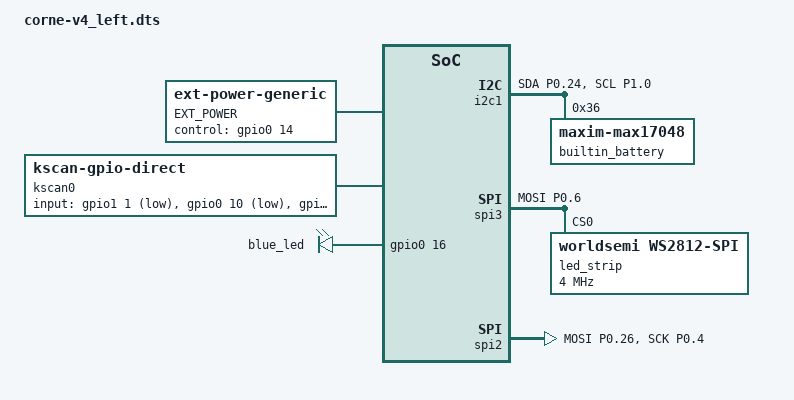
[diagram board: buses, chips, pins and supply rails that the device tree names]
#include "corne-v4.dtsi"
#include <dt-bindings/led/led.h>

/ {
	EXT_POWER {
		compatible = "zmk,ext-power-generic";
		control-gpios = <&gpio0 14 GPIO_ACTIVE_HIGH>;
		init-delay-ms = <50>;
	};
};

&pinctrl {
    i2c1_default: i2c1_default {
        group1 {
            psels = <NRF_PSEL(TWIM_SDA, 0, 24)>,
                <NRF_PSEL(TWIM_SCL, 1, 0)>;
						bias-pull-up;
        };
    };

    i2c1_sleep: i2c1_sleep {
        group1 {
            psels = <NRF_PSEL(TWIM_SDA, 0, 24)>,
                <NRF_PSEL(TWIM_SCL, 1, 0)>;
            low-power-enable;
						bias-pull-up;
        };
    };

    spi3_default: spi3_default {
				group1 {
						psels = <NRF_PSEL(SPIM_MOSI, 0, 6)>;
				};
		};

    spi3_sleep: spi3_sleep {
				group1 {
						psels = <NRF_PSEL(SPIM_MOSI, 0, 6)>;
						low-power-enable;
				};
		};

    spi2_default: spi2_default {
				group1 {
						psels = <NRF_PSEL(SPIM_MOSI, 0, 26)>,
						<NRF_PSEL(SPIM_SCK, 0, 4)>;
				};
		};
	
    spi2_sleep: spi2_sleep {
				group1 {
						psels = <NRF_PSEL(SPIM_MOSI, 0, 26)>,
						 <NRF_PSEL(SPIM_SCK, 0, 4)>;
						low-power-enable;
				};
		};
};


&i2c1 {
	compatible = "nordic,nrf-twi";
	pinctrl-0 = <&i2c1_default>;
	pinctrl-1 = <&i2c1_sleep>;
	pinctrl-names = "default", "sleep"; 
	

	builtin_battery: max17048@36 {
		compatible = "zmk,maxim-max17048";
		status = "okay";
		reg = <0x36>;
	};

	status = "okay";
};

&spi3 {
	compatible = "nordic,nrf-spim";
	status = "okay";
	pinctrl-0 = <&spi3_default>;
	pinctrl-1 = <&spi3_sleep>;
	pinctrl-names = "default", "sleep";

	led_strip: ws2812@0 {
				compatible ="worldsemi,ws2812-spi";
        /* SPI */
        reg = <0>; /* ignored, but necessary for SPI bindings */
        spi-max-frequency = <4000000>;

        /* WS2812 */
        chain-length = <24>; /* arbitrary; change at will */
        spi-one-frame = <0x70>;
        spi-zero-frame = <0x40>;

        color-mapping = <LED_COLOR_ID_GREEN LED_COLOR_ID_RED LED_COLOR_ID_BLUE>;
		};
};

lpm_view_spi:&spi2 {
  compatible ="nordic,nrf-spim";
  status = "okay";
  pinctrl-0 = <&spi2_default>;
  pinctrl-1 = <&spi2_sleep>;
  pinctrl-names = "default", "sleep";

  cs-gpios = <&gpio0 12 (GPIO_ACTIVE_HIGH | GPIO_PULL_DOWN)>;
};

nice_view_spi:&spi2 {
  compatible ="nordic,nrf-spim";
  status = "okay";
  pinctrl-0 = <&spi2_default>;
  pinctrl-1 = <&spi2_sleep>;
  pinctrl-names = "default", "sleep";

  cs-gpios = <&gpio0 12 (GPIO_ACTIVE_HIGH | GPIO_PULL_DOWN)>;
};
// &left_encoder {
//     status = "okay";
// };
/ {
	chosen {
		zmk,underglow = &led_strip;
		zmk,battery = &builtin_battery;
		zmk,kscan= &kscan0;
	};
	kscan0: kscan {
		compatible = "zmk,kscan-gpio-direct";
		wakeup-source;
		input-gpios
			= <&gpio1  1 (GPIO_ACTIVE_LOW | GPIO_PULL_UP)>  //19
			, <&gpio0  10 (GPIO_ACTIVE_LOW | GPIO_PULL_UP)> //18
			, <&gpio1  3 (GPIO_ACTIVE_LOW | GPIO_PULL_UP)>  //13
			, <&gpio1  5 (GPIO_ACTIVE_LOW | GPIO_PULL_UP)>  //12
			, <&gpio1 7 (GPIO_ACTIVE_LOW | GPIO_PULL_UP)>  //5
			, <&gpio1 11 (GPIO_ACTIVE_LOW | GPIO_PULL_UP)> //4
			, <&gpio1  12 (GPIO_ACTIVE_LOW | GPIO_PULL_UP)> //ex1
			, <&gpio0  9 (GPIO_ACTIVE_LOW | GPIO_PULL_UP)>  //20
			, <&gpio1  6 (GPIO_ACTIVE_LOW | GPIO_PULL_UP)>  //17
			, <&gpio1  4 (GPIO_ACTIVE_LOW | GPIO_PULL_UP)>  //14
			, <&gpio1  2 (GPIO_ACTIVE_LOW | GPIO_PULL_UP)>  //11
			, <&gpio1 14 (GPIO_ACTIVE_LOW | GPIO_PULL_UP)> //6
			, <&gpio0 3 (GPIO_ACTIVE_LOW | GPIO_PULL_UP)>  //3
			, <&gpio0 28 (GPIO_ACTIVE_LOW | GPIO_PULL_UP)> //ex2
			, <&gpio0 2 (GPIO_ACTIVE_LOW | GPIO_PULL_UP)>  //21
			, <&gpio1 15 (GPIO_ACTIVE_LOW | GPIO_PULL_UP)> //16
			, <&gpio1 13 (GPIO_ACTIVE_LOW | GPIO_PULL_UP)>  //15
			, <&gpio1 10 (GPIO_ACTIVE_LOW | GPIO_PULL_UP)>  //10
			, <&gpio0 31 (GPIO_ACTIVE_LOW | GPIO_PULL_UP)>  //7
			, <&gpio0 29 (GPIO_ACTIVE_LOW | GPIO_PULL_UP)> //2
			, <&gpio0 30 (GPIO_ACTIVE_LOW | GPIO_PULL_UP)> //ex3
			, <&gpio0 17 (GPIO_ACTIVE_LOW | GPIO_PULL_UP)> // 9
			, <&gpio0 13 (GPIO_ACTIVE_LOW | GPIO_PULL_UP)> // 8
			 ,<&gpio0 15 (GPIO_ACTIVE_LOW | GPIO_PULL_UP)> //1
		;
	};

	leds {
		compatible = "gpio-leds";
		blue_led: led_0 {
			gpios = <&gpio0 16 GPIO_ACTIVE_HIGH>;
		};
	};
};
